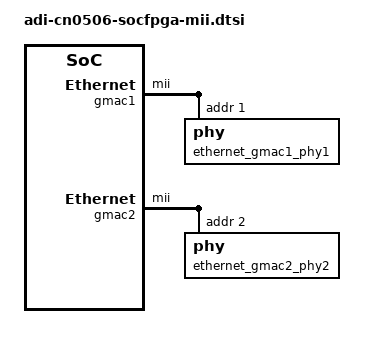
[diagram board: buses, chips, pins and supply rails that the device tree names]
/ {
	aliases {
		ethernet0 = &gmac0;
		ethernet1 = &gmac1;
		ethernet2 = &gmac2;
	};
};

&gmac1 {
	status = "okay";
	phy-mode = "mii";
	mac-mode = "rgmii";
	max-speed = <100>;

	#address-cells = <1>;
	#size-cells = <0>;

	ethernet_gmac1_phy1: phy@1 {
		reg = <0x1>;

		/* stmmac relies on the PHY to generate 25 MHz clock. */
		adi,phy-output-reference-clock;
		adi,phy-output-clock = "25mhz-reference";
	};
};

&gmac2 {
	status = "okay";
	phy-mode = "mii";
	mac-mode = "rgmii";
	max-speed = <100>;

	#address-cells = <1>;
	#size-cells = <0>;

	ethernet_gmac2_phy2: phy@2 {
		reg = <0x2>;

		/* stmmac relies on the PHY to generate 25 MHz clock. */
		adi,phy-output-reference-clock;
		adi,phy-output-clock = "25mhz-reference";
	};
};
